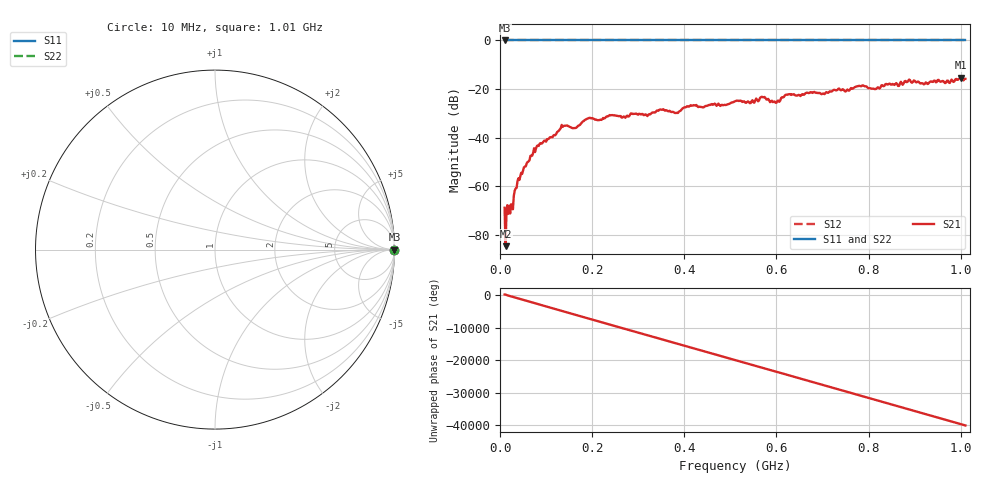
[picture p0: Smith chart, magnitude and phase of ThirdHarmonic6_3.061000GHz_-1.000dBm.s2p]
! 8/17/2025 8:55:17 AM
! C:\ANRITSUVNA\TEMP\TEMP.S2P
! CHANNEL.1
! TR.MEASUREMENT
! RAW.DATA
! RF.CORRECTION.OFF
! AVERAGING.OFF
! IF.BANDWIDTH: 5KHZ
! SWEEPTYPE:  FREQ.SWEEP(Linear)
! Reference Plane Port Info
! PORT:  PORT1  PORT2
! DISTANCE:  0  m  0  m
! TIME:  0  s  0  s
! PHASE.OFFSET:  0  deg.  0  deg.
! LOSS:  0  dB  0  dB
! REF.LOSS:  0  dB  0  dB
! REF.FREQ:  0  Hz  0  Hz
! Power Info
! POWER:  -20  dBm  -20  dBm
! EFF.POWER:  -20  dBm  -20  dBm
! SOURCE.ATTEN:  0  dB  0  dB
! TEST.ATTEN:  0  dB  0  dB
# GHZ S RI R 50.0
! FREQ.GHZ  S11RE  S11IM  S21RE  S21IM  S12RE  S12IM  S22RE  S22IM
!; PortSelection: Port_12
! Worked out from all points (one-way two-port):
!   501 points, 10 MHz to 1.01 GHz, reference 50 ohm
!   highest |S21| = -15.27 dB at 1 GHz (marker M1); lowest = -84.5 dB at 12 MHz (marker M2)
!   lowest |S11| = 0.0 dB at 10 MHz (marker M3)
!   |S11| at or under -10 dB: nowhere
!   |S22| runs from 0.0 to 0.0 dB; largest |S21 - S12| = 1.2
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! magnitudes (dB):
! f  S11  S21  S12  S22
! 10 MHz  0.0  -68.8  0.0  0.0
! 12 MHz  0.0  -84.5  0.0  0.0
! 26 MHz  0.0  -67.6  0.0  0.0
! 42 MHz  0.0  -57.4  0.0  0.0
! 78 MHz  0.0  -44.4  0.0  0.0
! 136 MHz  0.0  -35.5  0.0  0.0
! 162 MHz  0.0  -36.0  0.0  0.0
! 178 MHz  0.0  -33.6  0.0  0.0
! 192 MHz  0.0  -32.0  0.0  0.0
! 322 MHz  0.0  -30.5  0.0  0.0
! 344 MHz  0.0  -28.9  0.0  0.0
! 382 MHz  0.0  -29.8  0.0  0.0
! 416 MHz  0.0  -26.8  0.0  0.0
! 510 MHz  0.0  -25.0  0.0  0.0
! 548 MHz  0.0  -24.6  0.0  0.0
! 570 MHz  0.0  -23.3  0.0  0.0
! 596 MHz  0.0  -25.1  0.0  0.0
! 624 MHz  0.0  -22.3  0.0  0.0
! 678 MHz  0.0  -21.6  0.0  0.0
! 844 MHz  0.0  -17.8  0.0  0.0
! 1 GHz  0.0  -15.3  0.0  0.0
! 1.01 GHz  0.0  -15.8  0.0  0.0
